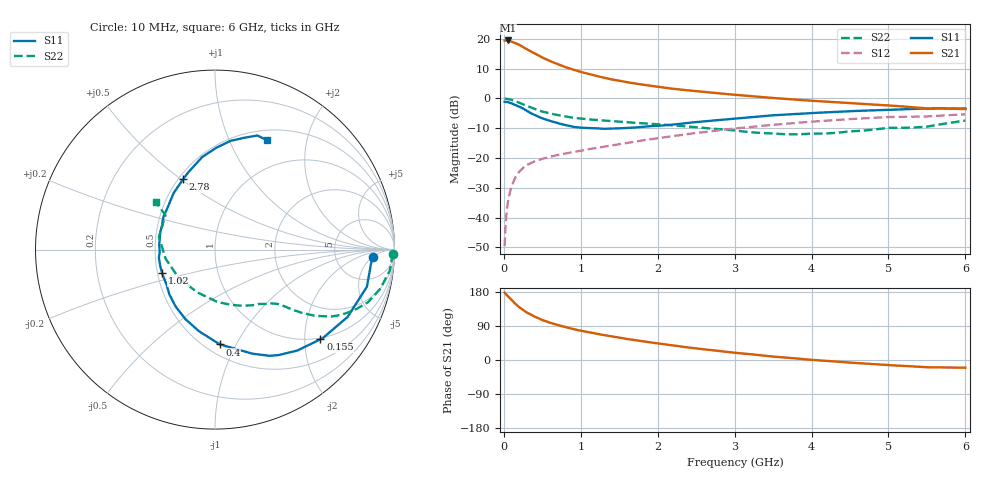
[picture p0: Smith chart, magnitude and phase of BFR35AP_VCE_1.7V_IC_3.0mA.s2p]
! Infineon Technologies  Discrete & RF Semiconductors
! BFR35AP
! VCE =  1.7 V,  IC =  3.0 mA
! Common Emitter S-Parameters:  Nov 2015
# GHz  S  MA  R  50
!  f  S11  S21  S12  S22
! GHz  MAG  ANG  MAG  ANG  MAG  ANG  MAG  ANG
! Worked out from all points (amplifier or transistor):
!   210 points, 10 MHz to 6 GHz, reference 50 ohm
!   highest |S21| = 19.5 dB at 50 MHz (marker M1)
!   |S21| within 3 dB of that: start of sweep to 301.8 MHz
!   unconditionally stable (mu >= 1): 935.8 MHz to 4.417 GHz; 5.071 GHz to end of sweep
!   at 185 MHz: K = 0.28, MSG = 21.7 dB, |S12| = -25.2 dB
!   at 1.52 GHz: K = 1.16, MAG = 8.1 dB, |S12| = -15.3 dB
!   at 6 GHz: K = 1.01, MAG = 0.2 dB, |S12| = -5.3 dB
!   S11 on the Smith chart (normalised r, x): 10 MHz: 14, -5; 155 MHz: 0.97, -2.38; 400 MHz: 0.59, -0.86; 1.02 GHz: 0.53, -0.15; 2.78 GHz: 0.53, +0.51; 6 GHz: 0.62, +1.39
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0.01  0.8796 -2.8  9.366 178.0  0.0033 91.4  0.9937 -1.3
0.025  0.8712 -6.6  9.286 174.3  0.0082 85.8  0.9862 -3.4
0.05  0.8714 -13.7  9.4 168.9  0.0173 82.1  0.9807 -6.9
0.1  0.8288 -26.9  9.028 158.5  0.0331 75.1  0.9458 -13.4
0.155  0.7708 -40.4  8.423 147.1  0.0481 68.0  0.8958 -19.4
0.2  0.7258 -50.8  7.958 139.4  0.0586 63.6  0.8463 -23.5
0.26  0.6653 -62.8  7.152 130.5  0.0698 58.3  0.7849 -27.7
0.3  0.617 -70.1  6.674 125.1  0.0762 56.0  0.7482 -29.9
0.4  0.5288 -87.1  5.715 114.4  0.0876 51.4  0.6638 -33.7
0.5  0.4633 -101.1  4.856 105.3  0.0965 49.2  0.6002 -36.0
0.6  0.4212 -113.0  4.236 98.4  0.105 47.7  0.5582 -37.4
0.7  0.3861 -124.5  3.759 92.2  0.112 47.3  0.5249 -38.4
0.8  0.3567 -135.4  3.354 86.7  0.1188 46.9  0.4972 -39.3
1.02  0.3224 -156.2  2.744 76.5  0.1338 47.5  0.4558 -41.5
1.4  0.3122 174.9  2.084 62.2  0.1624 48.0  0.4169 -46.5
1.68  0.3227 157.1  1.801 53.0  0.1853 48.3  0.3906 -50.9
2.02  0.3477 141.3  1.552 43.3  0.2164 47.3  0.3665 -57.9
2.78  0.4314 114.3  1.22 24.2  0.2904 42.4  0.3059 -79.6
3.1  0.4688 106.2  1.122 17.3  0.3213 39.0  0.2798 -92.5
4.1  0.5758 87.7  0.897 -1.0  0.4153 27.2  0.2562 -147.4
5.1  0.6493 74.3  0.747 -14.6  0.488 13.2  0.3198 162.7
6  0.6742 64.6  0.663 -20.3  0.5415 3.0  0.4248 141.0
